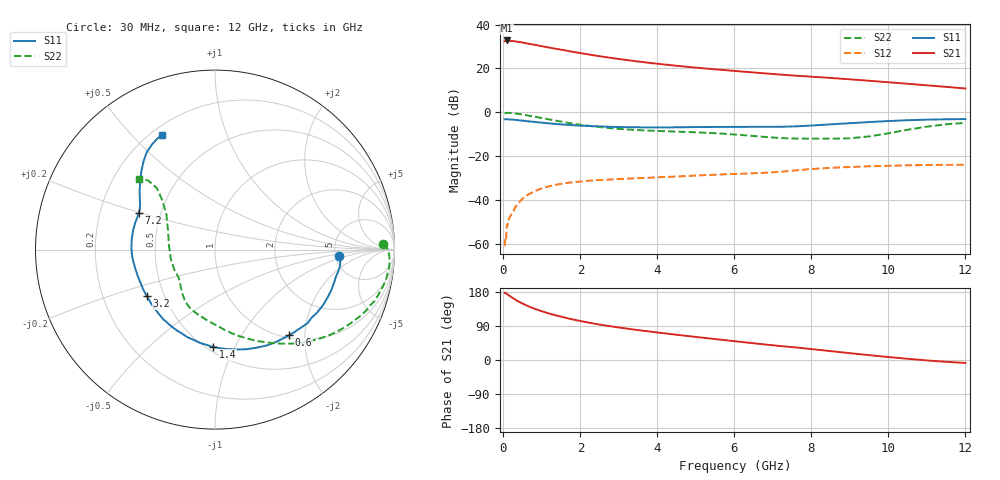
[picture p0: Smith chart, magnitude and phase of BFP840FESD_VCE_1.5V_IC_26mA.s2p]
! Infineon Technologies  Discrete & RF Semiconductors
! BFP840FESD
! VCE =  1.5 V,  IC =  26 mA
! Common Emitter S-Parameters:  May 2012
# GHz  S  MA  R  50
!  f  S11  S21  S12  S22
! GHz  MAG  ANG  MAG  ANG  MAG  ANG  MAG  ANG
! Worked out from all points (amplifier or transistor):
!   103 points, 30 MHz to 12 GHz, reference 50 ohm
!   highest |S21| = 32.7 dB at 80 MHz (marker M1)
!   |S21| within 3 dB of that: start of sweep to 1.111 GHz
!   unconditionally stable (mu >= 1): 5.446 GHz to end of sweep
!   at 400 MHz: K = 0.17, MSG = 36.6 dB, |S12| = -41.1 dB
!   at 3.7 GHz: K = 0.81, MSG = 26.3 dB, |S12| = -29.8 dB
!   at 12 GHz: K = 1.10, MAG = 15.4 dB, |S12| = -23.8 dB
!   S11 on the Smith chart (normalised r, x): 30 MHz: 5.38, -0.75; 600 MHz: 1.05, -1.67; 1.4 GHz: 0.54, -0.82; 3.2 GHz: 0.40, -0.26; 7.2 GHz: 0.38, +0.20; 12 GHz: 0.24, +0.61
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0.03  0.6919 -3.0  41.39 177.1  0.0009 109.3  0.9381 2.0
0.04  0.6939 -3.8  41.8 176.6  0.0012 100.7  0.951 1.1
0.05  0.699 -4.7  42.44 177.5  0.0013 82.1  0.9599 0.3
0.08  0.7022 -7.6  43.34 175.0  0.0022 87.9  0.9714 -2.1
0.13  0.6908 -12.6  42.18 171.4  0.0031 84.5  0.9752 -5.6
0.3  0.677 -27.2  41.62 159.9  0.0068 79.6  0.9453 -15.2
0.35  0.6686 -31.6  40.58 156.6  0.0078 76.1  0.9344 -17.8
0.45  0.6588 -38.4  39.89 151.2  0.0098 73.0  0.9058 -22.3
0.6  0.6321 -49.1  37.38 144.0  0.0128 68.0  0.8578 -28.8
0.9  0.5938 -66.9  33.34 132.0  0.0173 61.0  0.7702 -39.8
1.1  0.57 -77.6  30.8 125.3  0.0198 56.5  0.7153 -46.3
1.4  0.542 -91.2  27.69 116.8  0.0228 50.9  0.6392 -55.0
1.8  0.5113 -107.7  23.89 107.0  0.0257 45.4  0.5575 -65.8
2.1  0.494 -117.7  21.66 100.8  0.0273 42.6  0.5095 -72.8
2.6  0.4747 -132.1  18.38 91.9  0.0292 39.4  0.453 -82.7
3.2  0.4598 -145.6  15.55 83.0  0.0309 37.5  0.4085 -92.5
4.1  0.4551 -162.0  12.52 71.4  0.0336 37.0  0.3748 -104.2
6.1  0.4671 170.4  8.643 48.5  0.04 37.2  0.3089 -125.6
7.2  0.4711 154.5  7.239 36.8  0.0444 39.8  0.2606 -139.6
8.5  0.5338 141.9  6.072 23.4  0.0547 36.3  0.2516 -168.7
10.5  0.6627 125.0  4.478 3.3  0.0624 28.3  0.403 136.8
12  0.7028 114.6  3.497 -7.7  0.0642 25.0  0.5787 137.1
